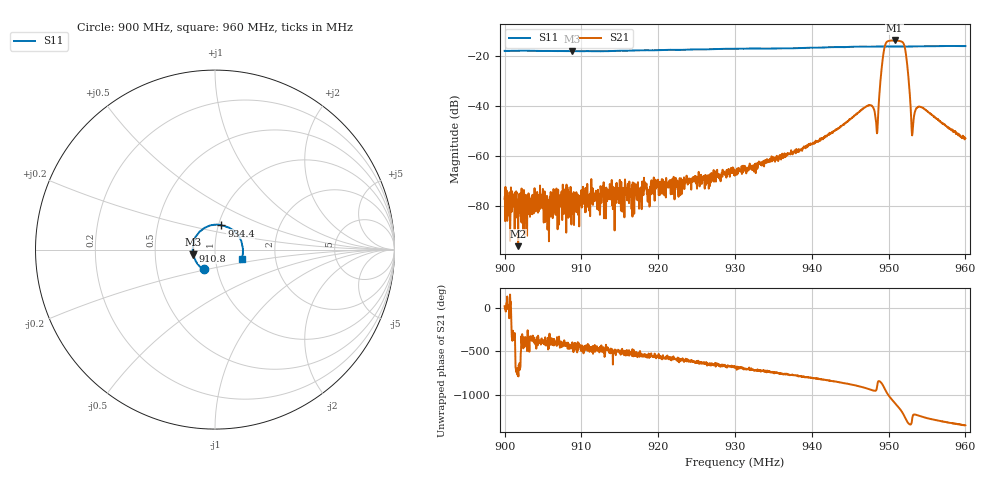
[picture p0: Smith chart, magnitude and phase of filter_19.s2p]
!Agilent Technologies,E5071C,MY46214392,A.11.36
!Date: Thu Feb 26 21:56:24 2026
!Data & Calibration Information:
!Freq	S11:NONE(--)	S21:NONE(--)	S12:NONE(--)	S22:NONE(--)
!PortZ  Port1:50+j0  Port2:50+j0
!Above PortZ is port z conversion or system Z0 setting when saving the data.
!When reading, reference impedance value at option line is always used.
# Hz S dB R 50
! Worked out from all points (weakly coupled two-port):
!   1601 points, 900 MHz to 960 MHz, reference 50 ohm
!   highest |S21| = -13.86 dB at 950.8 MHz (marker M1); lowest = -96.2 dB at 901.8 MHz (marker M2)
!   lowest |S11| = -18.2 dB at 908.7 MHz (marker M3), VSWR 1.28, Z = 39.2 - j2.23 ohm
!   |S11| at or under -10 dB: start of sweep to end of sweep
!   S12 and S22 are empty: the file has one direction only
!   S11 on the Smith chart (normalised r, x): 900 MHz: 0.86, -0.19; 910.8 MHz: 0.78, -0.01; 934.4 MHz: 1.03, +0.28; 960 MHz: 1.34, -0.14
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9e8  -18.03 -119.7  -77.21 22.0  -200.00 0.0  -200.00 0.0
9.017625e8  -17.99 -129.0  -96.16 -33.9  -200.00 0.0  -200.00 0.0
9.087375e8  -18.18 -166.9  -76.78 -102.3  -200.00 0.0  -200.00 0.0
9.100125e8  -18.16 -173.4  -73.69 -82.6  -200.00 0.0  -200.00 0.0
9.107625e8  -18.11 -177.2  -71.24 -126.0  -200.00 0.0  -200.00 0.0
9.20025e8  -17.75 137.2  -72.86 162.0  -200.00 0.0  -200.00 0.0
9.3e8  -17.19 93.0  -67.26 35.8  -200.00 0.0  -200.00 0.0
9.343875e8  -17.13 75.3  -61.88 -15.8  -200.00 0.0  -200.00 0.0
9.400125e8  -16.76 55.2  -55.45 -83.3  -200.00 0.0  -200.00 0.0
9.472875e8  -16.36 28.3  -39.97 151.0  -200.00 0.0  -200.00 0.0
9.484125e8  -16.29 24.2  -47.93 137.9  -200.00 0.0  -200.00 0.0
9.48675e8  -16.29 23.2  -41.46 -122.6  -200.00 0.0  -200.00 0.0
9.4935e8  -16.29 20.8  -18.64 176.2  -200.00 0.0  -200.00 0.0
9.50025e8  -16.25 18.2  -14.03 69.9  -200.00 0.0  -200.00 0.0
9.50775e8  -16.26 15.5  -13.86 -9.5  -200.00 0.0  -200.00 0.0
9.514875e8  -16.25 12.8  -14.12 -83.8  -200.00 0.0  -200.00 0.0
9.520875e8  -16.29 10.6  -16.33 -173.3  -200.00 0.0  -200.00 0.0
9.524625e8  -16.30 9.5  -24.74 125.0  -200.00 0.0  -200.00 0.0
9.529125e8  -16.27 8.2  -43.01 100.2  -200.00 0.0  -200.00 0.0
9.53175e8  -16.25 7.2  -47.96 -155.4  -200.00 0.0  -200.00 0.0
9.541875e8  -16.19 3.7  -40.45 -167.7  -200.00 0.0  -200.00 0.0
9.6e8  -16.11 -18.8  -52.98 88.5  -200.00 0.0  -200.00 0.0
